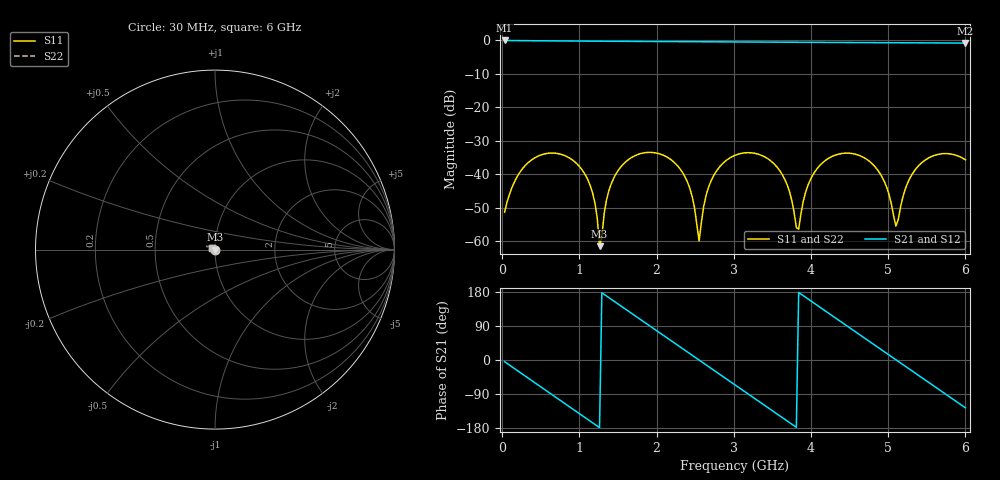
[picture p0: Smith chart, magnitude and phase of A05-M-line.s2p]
! yapnr Order 0 O0-M: O0-M A05 M dL70 (line, family M)
! stackup OSHPARK-4L-EM528, nominal parameters; geometry of the OSHPARK-4L-FR408HR design
! model: 2D quasi-static RLGC (Djordjevic-Sarkar, Huray roughness, Wheeler loss); generated by python -m yapnr.rf.coupons expected --stackup OSHPARK-4L-FR408HR --upload M
! reference planes 10 mm from each end; 50 ohm (from the M line's Zc)
# GHz S DB R 50
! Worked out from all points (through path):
!   200 points, 30 MHz to 6 GHz, reference 50 ohm
!   highest |S21| = -0.03 dB at 30 MHz (marker M1); lowest = -0.8 dB at 6 GHz (marker M2)
!   group delay of S21, straight-line fit = 391 ps
!   lowest |S11| = -61.4 dB at 1.26 GHz (marker M3), VSWR 1.00, Z = 49.9 + j0.0419 ohm
!   |S11| at or under -10 dB: start of sweep to end of sweep
!   |S22| runs from -61.4 to -33.4 dB; largest |S21 - S12| = 0
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0.03  -51.26 2.3  -0.03 -4.4  -0.03 -4.4  -51.26 2.3
0.24  -38.97 -88.4  -0.08 -34.3  -0.08 -34.3  -38.97 -88.4
0.57  -33.78 -150.1  -0.15 -81.0  -0.15 -81.0  -33.78 -150.1
1.05  -39.18 138.0  -0.22 -148.8  -0.22 -148.8  -39.18 138.0
1.2  -48.51 122.2  -0.24 -169.9  -0.24 -169.9  -48.51 122.2
1.26  -61.42 150.4  -0.25 -178.4  -0.25 -178.4  -61.42 150.4
1.35  -47.65 -97.4  -0.26 168.9  -0.26 168.9  -47.65 -97.4
1.5  -38.87 -113.5  -0.28 147.8  -0.28 147.8  -38.87 -113.5
2.04  -33.89 172.1  -0.35 71.7  -0.35 71.7  -33.89 172.1
2.4  -42.33 126.6  -0.40 20.9  -0.40 20.9  -42.33 126.6
2.55  -59.85 -167.4  -0.42 -0.2  -0.42 -0.2  -59.85 -167.4
2.7  -42.19 -110.4  -0.43 -21.3  -0.43 -21.3  -42.19 -110.4
3.03  -34.17 -151.4  -0.47 -67.8  -0.47 -67.8  -34.17 -151.4
3.57  -38.11 137.9  -0.54 -143.9  -0.54 -143.9  -38.11 137.9
3.84  -56.31 -148.4  -0.57 178.1  -0.57 178.1  -56.31 -148.4
4.02  -40.31 -118.2  -0.59 152.8  -0.59 152.8  -40.31 -118.2
4.5  -33.68 -178.4  -0.64 85.2  -0.64 85.2  -33.68 -178.4
5.01  -45.98 127.6  -0.70 13.3  -0.70 13.3  -45.98 127.6
5.1  -55.44 178.2  -0.71 0.7  -0.71 0.7  -55.44 178.2
5.4  -37.26 -131.7  -0.74 -41.6  -0.74 -41.6  -37.26 -131.7
5.7  -33.83 -169.2  -0.77 -83.9  -0.77 -83.9  -33.83 -169.2
6  -35.65 152.7  -0.80 -126.1  -0.80 -126.1  -35.65 152.7
